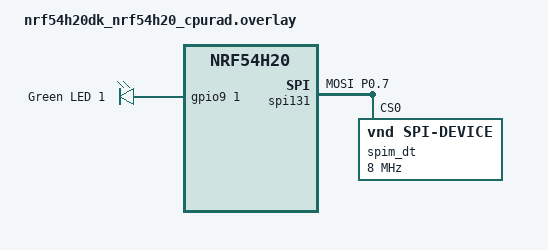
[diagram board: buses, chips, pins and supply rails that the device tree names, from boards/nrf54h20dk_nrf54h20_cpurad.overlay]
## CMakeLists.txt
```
#
# Copyright (c) 2026 Nordic Semiconductor ASA
# SPDX-License-Identifier: LicenseRef-Nordic-5-Clause
#

cmake_minimum_required(VERSION 3.20.0)

find_package(Zephyr REQUIRED HINTS $ENV{ZEPHYR_BASE})

project(wakeup_trigger)

target_sources(app PRIVATE src/main.c)
```

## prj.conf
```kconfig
CONFIG_SPI=y
CONFIG_CONSOLE=n
CONFIG_UART_CONSOLE=n
CONFIG_SERIAL=n
CONFIG_GPIO=y
CONFIG_BOOT_BANNER=n
CONFIG_NCS_BOOT_BANNER=n
```

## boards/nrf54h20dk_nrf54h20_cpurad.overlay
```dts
/*
 * Copyright (c) 2026 Nordic Semiconductor
 *
 * SPDX-License-Identifier: LicenseRef-Nordic-5-Clause
 */

/ {
	aliases {
		led = &led1;
	};

	leds {
		compatible = "gpio-leds";

		led1: led_1 {
			gpios = <&gpio9 1 GPIO_ACTIVE_HIGH>;
			label = "Green LED 1";
		};
	};
};

&gpio0 {
	status = "okay";
};

&gpio9 {
	status = "okay";
};

&gpiote130 {
	status = "okay";
	owned-channels = <1>;
};

&pinctrl {
	spi131_default_alt: spi131_default_alt {
		group1 {
			psels = <NRF_PSEL(SPIM_MOSI, 0, 7)>;
		};
	};

	spi131_sleep_alt: spi131_sleep_alt {
		group1 {
			psels = <NRF_PSEL(SPIM_MOSI, 0, 7)>;
			low-power-enable;
		};
	};
};

&spi131 {
	compatible = "nordic,nrf-spim";
	status = "okay";
	memory-regions = <&cpurad_dma_region>;
	pinctrl-0 = <&spi131_default_alt>;
	pinctrl-1 = <&spi131_sleep_alt>;
	pinctrl-names = "default", "sleep";
	overrun-character = <0x00>;

	spim_dt: spi-device@0 {
		compatible = "vnd,spi-device";
		reg = <0>;
		spi-max-frequency = <DT_FREQ_M(8)>;
	};
};
```

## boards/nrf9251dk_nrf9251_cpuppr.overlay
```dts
/*
 * Copyright (c) 2026 Nordic Semiconductor
 *
 * SPDX-License-Identifier: LicenseRef-Nordic-5-Clause
 */

/ {
	aliases {
		led = &led1;
	};

	leds {
		compatible = "gpio-leds";

		/* Move to other GPIO. */
		led1: led_1 {
			gpios = <&gpio2 1 GPIO_ACTIVE_HIGH>;
			label = "Custom GPIO";
		};
	};
};

&gpio2 {
	status = "okay";
};

&gpiote130 {
	status = "okay";
};

&pinctrl {
	spi131_default_alt: spi131_default_alt {
		group1 {
			psels = <NRF_PSEL(SPIM_MOSI, 2, 3)>;
		};
	};

	spi131_sleep_alt: spi131_sleep_alt {
		group1 {
			psels = <NRF_PSEL(SPIM_MOSI, 2, 3)>;
			low-power-enable;
		};
	};
};

&spi131 {
	compatible = "nordic,nrf-spim";
	status = "okay";
	pinctrl-0 = <&spi131_default_alt>;
	pinctrl-1 = <&spi131_sleep_alt>;
	pinctrl-names = "default", "sleep";
	memory-regions = <&cpuppr_dma_region>;
	overrun-character = <0x00>;

	spim_dt: spi-device@0 {
		compatible = "vnd,spi-device";
		reg = <0>;
		spi-max-frequency = <DT_FREQ_M(8)>;
	};
};
```

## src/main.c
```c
/*
 * Copyright (c) 2026 Nordic Semiconductor
 *
 * SPDX-License-Identifier: LicenseRef-Nordic-5-Clause
 */

#include <zephyr/kernel.h>
#include <zephyr/drivers/gpio.h>
#include <zephyr/drivers/spi.h>
#include <zephyr/logging/log.h>

static const struct gpio_dt_spec led = GPIO_DT_SPEC_GET(DT_ALIAS(led), gpios);

#define SPI_MODE (SPI_OP_MODE_CONTROLLER | SPI_WORD_SET(8))
static const struct spi_dt_spec spim = SPI_DT_SPEC_GET(DT_NODELABEL(spim_dt), SPI_MODE);

LOG_MODULE_REGISTER(wakeup_trigger);

int main(void)
{
	static char tx_buffer[] = {0x5};
	struct spi_buf tx_spi_bufs = {.buf = tx_buffer, .len = sizeof(tx_buffer)};
	struct spi_buf_set tx_spi_buf_set = {.buffers = &tx_spi_bufs, .count = 1};
	int rc;

	rc = gpio_is_ready_dt(&led);
	if (rc < 0) {
		LOG_ERR("GPIO Device not ready (%d)", rc);
		return 0;
	}

	rc = gpio_pin_configure_dt(&led, GPIO_OUTPUT_ACTIVE);
	if (rc < 0) {
		LOG_ERR("Could not configure led GPIO (%d)", rc);
		return 0;
	}

	rc = spi_is_ready_dt(&spim);
	if (rc < 0) {
		LOG_ERR("SPI device is not ready (%d)", rc);
		return 0;
	}

	while (1) {
		LOG_INF("SPIM: going to sleep for 1.5s...");
		gpio_pin_set_dt(&led, 0);
		k_msleep(1500);
		gpio_pin_set_dt(&led, 1);
		LOG_INF("SPIM: will be active for 500ms before transfer");
		k_busy_wait(500000);
		LOG_INF("SPIM: transferring one byte: '%#02x'", tx_buffer[0]);
		spi_write_dt(&spim, &tx_spi_buf_set);
		k_busy_wait(1000);
	}

	return 0;
}
```
